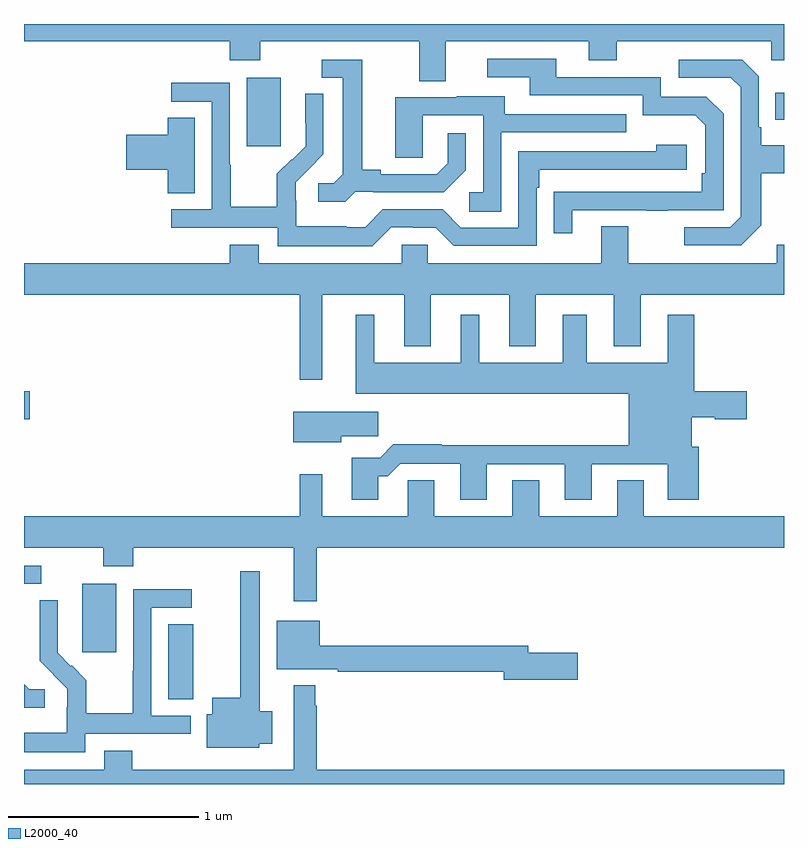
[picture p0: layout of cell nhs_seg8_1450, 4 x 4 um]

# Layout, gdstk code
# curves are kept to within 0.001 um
import gdstk
lib = gdstk.Library(unit=1e-6, precision=1e-09)
def R(c, l, rs):  # rectangles x0, y0, x1, y1
    for r in rs: c.add(gdstk.rectangle(r[:2], r[2:], *l))
def P(c, l, *ps):  # polygons
    for p in ps: c.add(gdstk.Polygon(p, *l))
L2000_40 = (2000, 40)

nhs_seg8_1450 = lib.new_cell('nhs_seg8_1450')
R(nhs_seg8_1450, L2000_40, [(203.759,1138.345,203.89,1138.742), (203.306,1138.593,203.485,1138.954), (203,1138.953,203.092,1139.049), (203,1139.819,203.029,1139.966), (204.173,1141.257,204.352,1141.618), (206.953,1141.397,207,1141.537)])
P(nhs_seg8_1450, L2000_40, [(205.219,1141.808),(205.973,1141.808),(205.973,1141.709),(206.121,1141.709),(206.121,1141.808),(206.934,1141.808),(206.934,1141.709),(207,1141.709),(207,1141.9),(203,1141.9),(203,1141.808),(204.083,1141.808),(204.083,1141.709),(204.243,1141.709),(204.243,1141.808),(205.079,1141.808),(205.079,1141.6),(205.219,1141.6)],
  [(205.885,1140.921),(206.275,1140.921),(206.275,1140.916),(206.387,1140.916),(206.387,1140.921),(206.682,1140.921),(206.682,1141.428),(206.592,1141.518),(206.352,1141.518),(206.352,1141.62),(205.801,1141.62),(205.801,1141.716),(205.437,1141.716),(205.437,1141.62),(205.661,1141.62),(205.661,1141.524),(206.256,1141.524),(206.256,1141.421),(206.533,1141.421),(206.586,1141.368),(206.586,1141.114),(206.566,1141.114),(206.566,1141.017),(205.789,1141.016),(205.789,1140.798),(205.885,1140.798)],
  [(204.744,1141.017),(204.838,1141.017),(204.838,1141.014),(205.21,1141.014),(205.326,1141.13),(205.326,1141.324),(205.229,1141.324),(205.229,1141.167),(205.172,1141.11),(204.877,1141.11),(204.877,1141.133),(204.781,1141.133),(204.781,1141.713),(204.567,1141.713),(204.567,1141.617),(204.677,1141.617),(204.677,1141.109),(204.63,1141.062),(204.549,1141.062),(204.549,1140.965),(204.692,1140.965)],
  [(206.881,1140.841),(206.881,1141.114),(207,1141.114),(207,1141.261),(206.881,1141.261),(206.881,1141.357),(206.868,1141.357),(206.868,1141.626),(206.781,1141.713),(206.445,1141.713),(206.445,1141.617),(206.721,1141.617),(206.772,1141.566),(206.772,1140.885),(206.718,1140.831),(206.475,1140.831),(206.475,1140.735),(206.775,1140.735)],
  [(204.933,1140.831),(205.049,1140.831),(205.049,1140.828),(205.167,1140.828),(205.263,1140.732),(205.698,1140.732),(205.698,1141.037),(205.711,1141.037),(205.711,1141.134),(206.488,1141.134),(206.488,1141.264),(206.327,1141.264),(206.327,1141.23),(205.602,1141.23),(205.602,1140.828),(205.299,1140.828),(205.203,1140.924),(204.888,1140.924),(204.795,1140.831),(204.695,1140.831),(204.695,1140.835),(204.432,1140.835),(204.432,1140.969),(204.43,1140.969),(204.43,1141.066),(204.576,1141.214),(204.576,1141.532),(204.48,1141.532),(204.48,1141.378),(204.482,1141.378),(204.482,1141.256),(204.411,1141.185),(204.408,1141.188),(204.331,1141.111),(204.331,1140.937),(204.087,1140.937),(204.087,1141.16),(204.084,1141.16),(204.084,1141.59),(203.775,1141.59),(203.775,1141.491),(203.988,1141.491),(203.988,1140.924),(203.775,1140.924),(203.775,1140.828),(204.336,1140.828),(204.336,1140.731),(204.833,1140.731)],
  [(205.512,1141.329),(206.171,1141.329),(206.171,1141.425),(205.531,1141.425),(205.531,1141.519),(205.277,1141.519),(205.277,1141.515),(204.953,1141.515),(204.953,1141.195),(205.098,1141.195),(205.098,1141.419),(205.416,1141.419),(205.416,1141.014),(205.344,1141.014),(205.344,1140.913),(205.512,1140.913)],
  [(203.899,1141.406),(203.756,1141.406),(203.756,1141.316),(203.538,1141.316),(203.538,1141.133),(203.756,1141.133),(203.756,1141.009),(203.899,1141.009)],
  [(204.571,1140.476),(205.001,1140.476),(205.001,1140.203),(205.141,1140.203),(205.141,1140.476),(205.553,1140.476),(205.553,1140.203),(205.693,1140.203),(205.693,1140.476),(206.105,1140.476),(206.105,1140.203),(206.245,1140.203),(206.245,1140.476),(207,1140.476),(207,1140.739),(206.963,1140.739),(206.963,1140.64),(206.179,1140.64),(206.179,1140.835),(206.039,1140.835),(206.039,1140.64),(205.125,1140.64),(205.125,1140.738),(204.987,1140.738),(204.987,1140.64),(204.235,1140.64),(204.235,1140.739),(204.083,1140.739),(204.083,1140.64),(203,1140.64),(203,1140.476),(204.45,1140.476),(204.45,1140.027),(204.571,1140.027)],
  [(204.865,1139.519),(204.914,1139.519),(204.981,1139.586),(205.295,1139.586),(205.295,1139.397),(205.435,1139.397),(205.435,1139.583),(205.847,1139.583),(205.847,1139.397),(205.987,1139.397),(205.987,1139.583),(206.387,1139.583),(206.387,1139.397),(206.552,1139.397),(206.552,1139.676),(206.515,1139.676),(206.515,1139.831),(206.635,1139.831),(206.635,1139.819),(206.803,1139.819),(206.803,1139.966),(206.528,1139.966),(206.528,1140.37),(206.387,1140.37),(206.387,1140.118),(205.963,1140.118),(205.963,1140.37),(205.835,1140.37),(205.835,1140.118),(205.396,1140.118),(205.396,1140.37),(205.298,1140.37),(205.298,1140.118),(204.844,1140.118),(204.844,1140.37),(204.746,1140.37),(204.746,1139.954),(206.183,1139.954),(206.183,1139.684),(205.199,1139.684),(205.199,1139.687),(204.944,1139.687),(204.874,1139.617),(204.725,1139.617),(204.725,1139.397),(204.865,1139.397)],
  [(204.67,1139.731),(204.865,1139.731),(204.865,1139.86),(204.416,1139.86),(204.416,1139.699),(204.67,1139.699)],
  [(204.541,1139.144),(207,1139.144),(207,1139.308),(206.263,1139.308),(206.263,1139.498),(206.123,1139.498),(206.123,1139.308),(205.711,1139.308),(205.711,1139.498),(205.571,1139.498),(205.571,1139.308),(205.159,1139.308),(205.159,1139.498),(205.02,1139.498),(205.02,1139.308),(204.571,1139.308),(204.571,1139.53),(204.45,1139.53),(204.45,1139.308),(203,1139.308),(203,1139.144),(203.416,1139.144),(203.416,1139.045),(203.576,1139.045),(203.576,1139.144),(204.419,1139.144),(204.419,1138.863),(204.541,1138.863)],
  [(204.237,1138.112),(204.307,1138.112),(204.307,1138.283),(204.241,1138.283),(204.241,1139.02),(204.137,1139.02),(204.137,1138.354),(203.99,1138.354),(203.99,1138.266),(203.963,1138.266),(203.963,1138.091),(204.237,1138.091)],
  [(203.322,1138.164),(203.878,1138.164),(203.878,1138.26),(203.67,1138.26),(203.67,1138.827),(203.884,1138.827),(203.884,1138.926),(203.574,1138.926),(203.574,1138.496),(203.572,1138.496),(203.572,1138.273),(203.327,1138.273),(203.327,1138.447),(203.25,1138.524),(203.247,1138.521),(203.177,1138.592),(203.178,1138.868),(203.082,1138.868),(203.082,1138.55),(203.228,1138.402),(203.228,1138.305),(203.226,1138.305),(203.226,1138.171),(203,1138.171),(203,1138.067),(203.322,1138.067)],
  [(205.915,1138.592),(205.654,1138.592),(205.654,1138.628),(204.556,1138.628),(204.556,1138.759),(204.329,1138.759),(204.329,1138.505),(204.652,1138.505),(204.652,1138.492),(205.526,1138.492),(205.526,1138.45),(205.915,1138.45)],
  [(203.11,1138.398),(203.028,1138.398),(203,1138.426),(203,1138.301),(203.11,1138.301)],
  [(207,1137.976),(204.541,1137.976),(204.541,1138.313),(204.534,1138.313),(204.534,1138.42),(204.419,1138.42),(204.419,1137.976),(203.571,1137.976),(203.571,1138.075),(203.423,1138.075),(203.423,1137.976),(203,1137.976),(203,1137.9),(207,1137.9)])

lib.write_gds('nhs_seg8_1450.gds')
